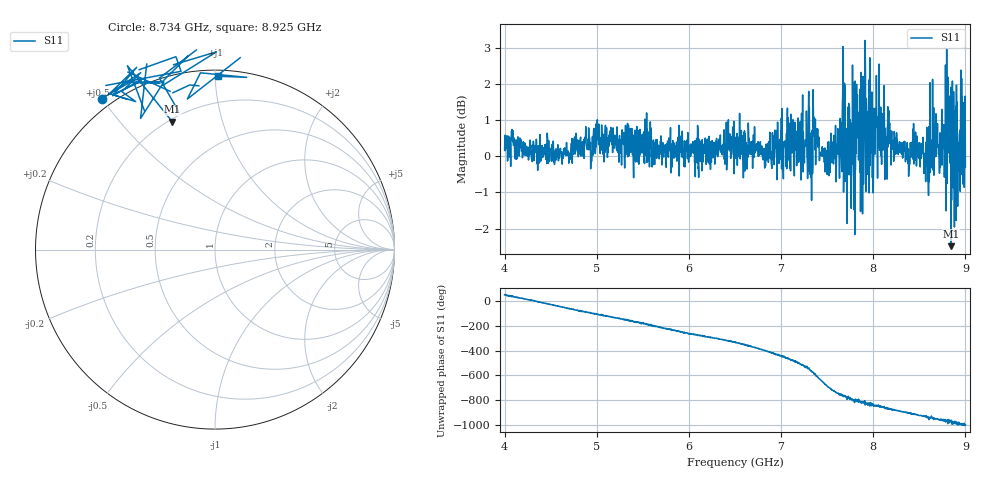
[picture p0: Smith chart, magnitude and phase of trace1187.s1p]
! Created with skrf 1.8.0 (http://scikit-rf.org).
# Hz S RI R 50.0
!freq ReS11 ImS11
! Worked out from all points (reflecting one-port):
!   1601 points, 4 GHz to 9 GHz, reference 50 ohm
!   lowest |S11| = -2.5 dB at 8.844 GHz (marker M1), VSWR 7.04, Z = 10.7 + j34.9 ohm
!   phase of S11 starts at 51 deg and turns -1051 deg over the sweep
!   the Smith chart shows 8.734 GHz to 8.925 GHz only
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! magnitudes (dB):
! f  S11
! 4 GHz  0.2
! 4.625 GHz  -0.2
! 5.25 GHz  0.2
! 5.875 GHz  0.0
! 6.5 GHz  0.4
! 6.819 GHz  -0.1
! 7.125 GHz  1.0
! 7.306 GHz  1.4
! 7.372 GHz  1.0
! 7.509 GHz  -0.4
! 7.619 GHz  0.3
! 7.669 GHz  1.7
! 7.7 GHz  0.2
! 7.75 GHz  0.3
! 7.784 GHz  0.3
! 7.822 GHz  1.0
! 7.875 GHz  1.0
! 7.928 GHz  1.3
! 7.981 GHz  0.1
! 8.375 GHz  0.0
! 8.616 GHz  2.0
! 8.669 GHz  0.7
! 8.766 GHz  0.9
! 8.803 GHz  -0.8
! 8.844 GHz  -2.5
! 8.919 GHz  -0.1
! 8.972 GHz  0.8
! 9 GHz  -0.3
